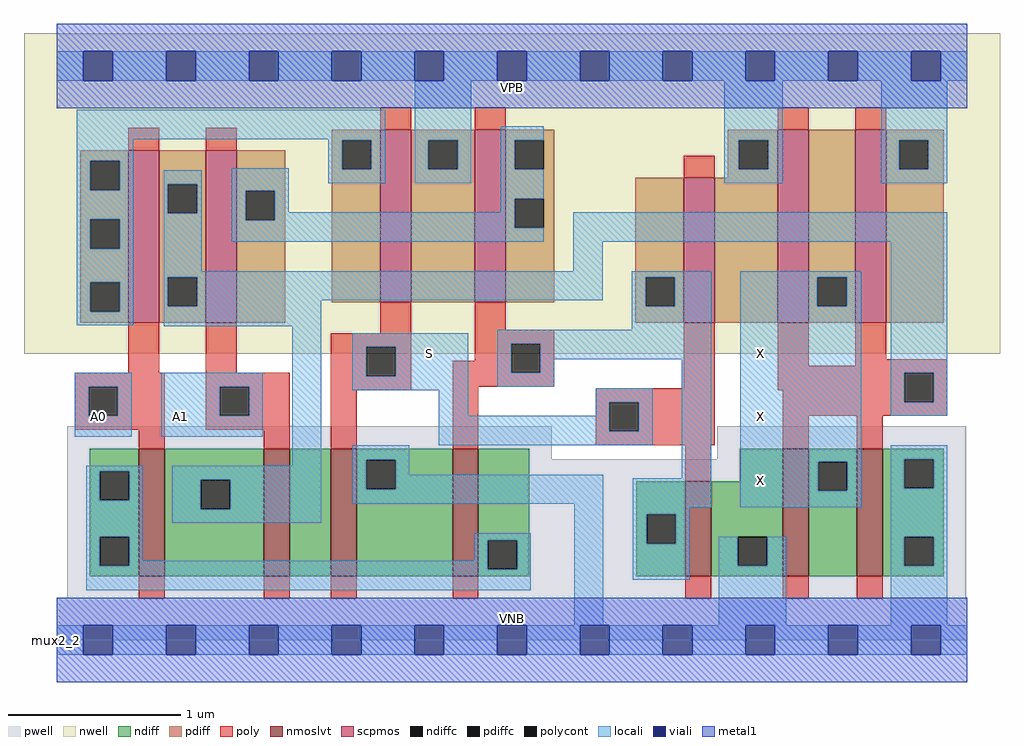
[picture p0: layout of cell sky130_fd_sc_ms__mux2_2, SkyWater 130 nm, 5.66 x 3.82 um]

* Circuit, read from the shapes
.subckt sky130_fd_sc_ms__mux2_2 A0 A1 S VGND VNB VPB VPWR X
XM1 n1 A0 n2 VNB sky130_fd_pr__nfet_01v8_lvt w=0.74 l=0.15
XM2 n3 A1 n1 VNB sky130_fd_pr__nfet_01v8_lvt w=0.74 l=0.15
XM3 VGND S n3 VNB sky130_fd_pr__nfet_01v8_lvt w=0.74 l=0.15
XM4 n2 n4 VGND VNB sky130_fd_pr__nfet_01v8_lvt w=0.74 l=0.15
XM5 VGND S n4 VNB sky130_fd_pr__nfet_01v8_lvt w=0.55 l=0.15
XM6 X n1 VGND VNB sky130_fd_pr__nfet_01v8_lvt w=0.74 l=0.15 m=2
XM7 n1 A0 n5 VPB sky130_fd_pr__pfet_01v8 w=1 l=0.18
XM8 n6 A1 n1 VPB sky130_fd_pr__pfet_01v8 w=1 l=0.18
XM9 VPWR S n5 VPB sky130_fd_pr__pfet_01v8 w=1 l=0.18
XM10 n6 n4 VPWR VPB sky130_fd_pr__pfet_01v8 w=1 l=0.18
XM11 VPWR S n4 VPB sky130_fd_pr__pfet_01v8 w=0.84 l=0.18
XM12 X n1 VPWR VPB sky130_fd_pr__pfet_01v8 w=1.12 l=0.18 m=2
.ends

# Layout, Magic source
magic
tech sky130A
magscale 1 2
<< nwell >>
rect -38 332 1094 704
<< pwell >>
rect 12 210 574 248
rect 766 210 1055 248
rect 12 49 1055 210
rect 0 0 1056 49
<< scpmos >>
rect 83 368 119 568
rect 173 368 209 568
rect 375 392 411 592
rect 485 392 521 592
rect 727 368 763 536
rect 836 368 872 592
rect 926 368 962 592
<< nmoslvt >>
rect 95 74 125 222
rect 240 74 270 222
rect 318 74 348 222
rect 459 74 489 222
rect 729 74 759 184
rect 842 74 872 222
rect 928 74 958 222
<< ndiff >>
rect 38 196 95 222
rect 38 162 50 196
rect 84 162 95 196
rect 38 120 95 162
rect 38 86 50 120
rect 84 86 95 120
rect 38 74 95 86
rect 125 186 240 222
rect 125 152 167 186
rect 201 152 240 186
rect 125 74 240 152
rect 270 74 318 222
rect 348 209 459 222
rect 348 175 359 209
rect 393 175 459 209
rect 348 74 459 175
rect 489 116 548 222
rect 792 184 842 222
rect 489 82 500 116
rect 534 82 548 116
rect 489 74 548 82
rect 672 146 729 184
rect 672 112 684 146
rect 718 112 729 146
rect 672 74 729 112
rect 759 120 842 184
rect 759 86 790 120
rect 824 86 842 120
rect 759 74 842 86
rect 872 207 928 222
rect 872 173 883 207
rect 917 173 928 207
rect 872 74 928 173
rect 958 210 1029 222
rect 958 176 983 210
rect 1017 176 1029 210
rect 958 120 1029 176
rect 958 86 983 120
rect 1017 86 1029 120
rect 958 74 1029 86
<< pdiff >>
rect 319 580 375 592
rect 27 556 83 568
rect 27 522 39 556
rect 73 522 83 556
rect 27 488 83 522
rect 27 454 39 488
rect 73 454 83 488
rect 27 415 83 454
rect 27 381 39 415
rect 73 381 83 415
rect 27 368 83 381
rect 119 529 173 568
rect 119 495 129 529
rect 163 495 173 529
rect 119 421 173 495
rect 119 387 129 421
rect 163 387 173 421
rect 119 368 173 387
rect 209 521 265 568
rect 209 487 219 521
rect 253 487 265 521
rect 209 368 265 487
rect 319 546 331 580
rect 365 546 375 580
rect 319 392 375 546
rect 411 580 485 592
rect 411 546 431 580
rect 465 546 485 580
rect 411 392 485 546
rect 521 580 577 592
rect 521 546 531 580
rect 565 546 577 580
rect 778 580 836 592
rect 521 512 577 546
rect 778 546 791 580
rect 825 546 836 580
rect 778 536 836 546
rect 521 478 531 512
rect 565 478 577 512
rect 521 392 577 478
rect 671 421 727 536
rect 671 387 683 421
rect 717 387 727 421
rect 671 368 727 387
rect 763 368 836 536
rect 872 421 926 592
rect 872 387 882 421
rect 916 387 926 421
rect 872 368 926 387
rect 962 580 1029 592
rect 962 546 977 580
rect 1011 546 1029 580
rect 962 368 1029 546
<< ndiffc >>
rect 50 162 84 196
rect 50 86 84 120
rect 167 152 201 186
rect 359 175 393 209
rect 500 82 534 116
rect 684 112 718 146
rect 790 86 824 120
rect 883 173 917 207
rect 983 176 1017 210
rect 983 86 1017 120
<< pdiffc >>
rect 39 522 73 556
rect 39 454 73 488
rect 39 381 73 415
rect 129 495 163 529
rect 129 387 163 421
rect 219 487 253 521
rect 331 546 365 580
rect 431 546 465 580
rect 531 546 565 580
rect 791 546 825 580
rect 531 478 565 512
rect 683 387 717 421
rect 882 387 916 421
rect 977 546 1011 580
<< poly >>
rect 83 568 119 594
rect 173 568 209 594
rect 375 592 411 618
rect 485 592 521 618
rect 836 592 872 618
rect 926 592 962 618
rect 727 536 763 562
rect 83 310 119 368
rect 173 310 209 368
rect 375 356 411 392
rect 318 340 411 356
rect 21 294 125 310
rect 21 260 37 294
rect 71 260 125 294
rect 21 244 125 260
rect 173 294 270 310
rect 173 260 189 294
rect 223 260 270 294
rect 173 244 270 260
rect 95 222 125 244
rect 240 222 270 244
rect 318 306 359 340
rect 393 306 411 340
rect 485 360 521 392
rect 485 344 577 360
rect 485 324 527 344
rect 318 290 411 306
rect 459 310 527 324
rect 561 310 577 344
rect 459 294 577 310
rect 318 222 348 290
rect 459 222 489 294
rect 727 292 763 368
rect 625 276 763 292
rect 836 318 872 368
rect 926 326 962 368
rect 926 318 1033 326
rect 836 310 1033 318
rect 836 290 983 310
rect 625 242 641 276
rect 675 242 763 276
rect 625 226 763 242
rect 842 276 983 290
rect 1017 276 1033 310
rect 842 260 1033 276
rect 729 184 759 226
rect 842 222 872 260
rect 928 222 958 260
rect 95 48 125 74
rect 240 48 270 74
rect 318 48 348 74
rect 459 48 489 74
rect 729 48 759 74
rect 842 48 872 74
rect 928 48 958 74
<< polycont >>
rect 37 260 71 294
rect 189 260 223 294
rect 359 306 393 340
rect 527 310 561 344
rect 641 242 675 276
rect 983 276 1017 310
<< locali >>
rect 0 649 31 683
rect 65 649 127 683
rect 161 649 223 683
rect 257 649 319 683
rect 353 649 415 683
rect 449 649 511 683
rect 545 649 607 683
rect 641 649 703 683
rect 737 649 799 683
rect 833 649 895 683
rect 929 649 991 683
rect 1025 649 1056 683
rect 23 581 381 615
rect 23 556 89 581
rect 23 522 39 556
rect 73 522 89 556
rect 315 580 381 581
rect 23 488 89 522
rect 23 454 39 488
rect 73 454 89 488
rect 23 415 89 454
rect 23 381 39 415
rect 73 381 89 415
rect 23 365 89 381
rect 124 529 168 545
rect 124 495 129 529
rect 163 495 168 529
rect 124 428 168 495
rect 203 521 269 547
rect 315 546 331 580
rect 365 546 381 580
rect 315 530 381 546
rect 415 580 481 649
rect 415 546 431 580
rect 465 546 481 580
rect 415 530 481 546
rect 515 580 565 596
rect 515 546 531 580
rect 203 487 219 521
rect 253 496 269 521
rect 515 512 565 546
rect 774 580 842 649
rect 774 546 791 580
rect 825 546 842 580
rect 774 530 842 546
rect 956 580 1033 649
rect 956 546 977 580
rect 1011 546 1033 580
rect 956 530 1033 546
rect 515 496 531 512
rect 253 487 531 496
rect 203 478 531 487
rect 203 462 565 478
rect 599 462 1033 496
rect 599 428 633 462
rect 124 421 633 428
rect 124 387 129 421
rect 163 394 633 421
rect 667 421 759 428
rect 163 387 307 394
rect 124 364 307 387
rect 21 294 87 310
rect 21 260 37 294
rect 71 260 87 294
rect 21 236 87 260
rect 121 294 239 310
rect 121 260 189 294
rect 223 260 239 294
rect 121 236 239 260
rect 273 202 307 364
rect 667 387 683 421
rect 717 387 759 421
rect 667 360 759 387
rect 343 340 477 356
rect 343 306 359 340
rect 393 306 477 340
rect 343 290 477 306
rect 511 344 759 360
rect 511 310 527 344
rect 561 326 759 344
rect 561 310 577 326
rect 511 294 577 310
rect 443 260 477 290
rect 625 276 691 292
rect 625 260 641 276
rect 443 242 641 260
rect 675 242 691 276
rect 443 226 691 242
rect 34 196 100 202
rect 34 162 50 196
rect 84 162 100 196
rect 34 120 100 162
rect 134 186 307 202
rect 134 152 167 186
rect 201 152 307 186
rect 343 209 409 226
rect 343 175 359 209
rect 393 192 409 209
rect 393 175 634 192
rect 725 188 759 326
rect 343 158 634 175
rect 134 136 307 152
rect 34 86 50 120
rect 84 92 100 120
rect 484 116 550 124
rect 484 92 500 116
rect 84 86 500 92
rect 34 82 500 86
rect 534 82 550 116
rect 34 58 550 82
rect 600 17 634 158
rect 668 154 759 188
rect 793 421 933 428
rect 793 387 882 421
rect 916 387 933 421
rect 793 207 933 387
rect 967 310 1033 462
rect 967 276 983 310
rect 1017 276 1033 310
rect 967 260 1033 276
rect 793 173 883 207
rect 917 173 933 207
rect 793 154 933 173
rect 967 210 1033 226
rect 967 176 983 210
rect 1017 176 1033 210
rect 668 146 734 154
rect 668 112 684 146
rect 718 112 734 146
rect 967 120 1033 176
rect 668 70 734 112
rect 768 86 790 120
rect 824 86 846 120
rect 768 17 846 86
rect 967 86 983 120
rect 1017 86 1033 120
rect 967 17 1033 86
rect 0 -17 31 17
rect 65 -17 127 17
rect 161 -17 223 17
rect 257 -17 319 17
rect 353 -17 415 17
rect 449 -17 511 17
rect 545 -17 607 17
rect 641 -17 703 17
rect 737 -17 799 17
rect 833 -17 895 17
rect 929 -17 991 17
rect 1025 -17 1056 17
<< viali >>
rect 31 649 65 683
rect 127 649 161 683
rect 223 649 257 683
rect 319 649 353 683
rect 415 649 449 683
rect 511 649 545 683
rect 607 649 641 683
rect 703 649 737 683
rect 799 649 833 683
rect 895 649 929 683
rect 991 649 1025 683
rect 31 -17 65 17
rect 127 -17 161 17
rect 223 -17 257 17
rect 319 -17 353 17
rect 415 -17 449 17
rect 511 -17 545 17
rect 607 -17 641 17
rect 703 -17 737 17
rect 799 -17 833 17
rect 895 -17 929 17
rect 991 -17 1025 17
<< metal1 >>
rect 0 683 1056 715
rect 0 649 31 683
rect 65 649 127 683
rect 161 649 223 683
rect 257 649 319 683
rect 353 649 415 683
rect 449 649 511 683
rect 545 649 607 683
rect 641 649 703 683
rect 737 649 799 683
rect 833 649 895 683
rect 929 649 991 683
rect 1025 649 1056 683
rect 0 617 1056 649
rect 0 17 1056 49
rect 0 -17 31 17
rect 65 -17 127 17
rect 161 -17 223 17
rect 257 -17 319 17
rect 353 -17 415 17
rect 449 -17 511 17
rect 545 -17 607 17
rect 641 -17 703 17
rect 737 -17 799 17
rect 833 -17 895 17
rect 929 -17 991 17
rect 1025 -17 1056 17
rect 0 -49 1056 -17
<< labels >>
flabel pwell s 0 0 1056 49 0 FreeSans 200 0 0 0 VNB
port 5 nsew ground bidirectional
flabel nwell s 0 617 1056 666 0 FreeSans 200 0 0 0 VPB
port 6 nsew power bidirectional
rlabel comment s 0 0 0 0 4 mux2_2
flabel metal1 s 0 617 1056 666 0 FreeSans 340 0 0 0 VPWR
port 7 nsew power bidirectional
flabel metal1 s 0 0 1056 49 0 FreeSans 340 0 0 0 VGND
port 4 nsew ground bidirectional
flabel locali s 415 316 449 350 0 FreeSans 340 0 0 0 S
port 3 nsew signal input
flabel locali s 127 242 161 276 0 FreeSans 340 0 0 0 A1
port 2 nsew signal input
flabel locali s 31 242 65 276 0 FreeSans 340 0 0 0 A0
port 1 nsew signal input
flabel locali s 799 168 833 202 0 FreeSans 340 0 0 0 X
port 8 nsew signal output
flabel locali s 799 242 833 276 0 FreeSans 340 0 0 0 X
port 8 nsew signal output
flabel locali s 799 316 833 350 0 FreeSans 340 0 0 0 X
port 8 nsew signal output
<< properties >>
string LEFsite unit
string LEFclass CORE
string FIXED_BBOX 0 0 1056 666
string GDS_FILE $PDKPATH/libs.ref/sky130_fd_sc_ms/gds/sky130_fd_sc_ms.gds
string LEFsymmetry X Y
string GDS_END 1615228
string GDS_START 1607452
<< end >>
